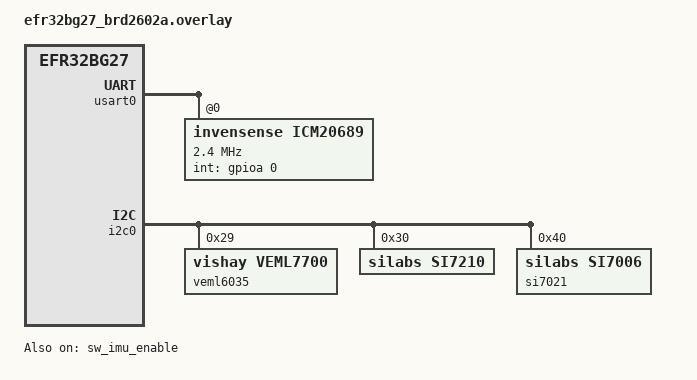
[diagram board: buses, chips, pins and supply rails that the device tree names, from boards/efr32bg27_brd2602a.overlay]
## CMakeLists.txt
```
# SPDX-License-Identifier: Apache-2.0

cmake_minimum_required(VERSION 3.20.0)
# set(CMAKE_OBJECT_PATH_MAX 300)
find_package(Zephyr REQUIRED HINTS $ENV{ZEPHYR_BASE})
project(xg27_cli)

target_sources(app PRIVATE src/main.c)
target_sources(app PRIVATE src/cli_command_table.c)
target_sources(app PRIVATE src/bthome_v2.c)
target_sources(app PRIVATE src/main.c)
```

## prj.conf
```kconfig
CONFIG_BT=y
CONFIG_BT_PERIPHERAL=y
CONFIG_SHELL=y
CONFIG_GPIO=y
CONFIG_SENSOR=y
CONFIG_ICM20689=y
CONFIG_SPI=y
CONFIG_I2C=y
CONFIG_CBPRINTF_FP_SUPPORT=y
CONFIG_MAIN_STACK_SIZE=4096
CONFIG_MBEDTLS=y
CONFIG_MBEDTLS_PSA_CRYPTO_C=y
CONFIG_MBEDTLS_CIPHER_AES_ENABLED=y
CONFIG_MBEDTLS_CIPHER_CCM_ENABLED=y
CONFIG_MBEDTLS_CIPHER_GCM_ENABLED=y
CONFIG_LOG=y
CONFIG_SERIAL=y
```

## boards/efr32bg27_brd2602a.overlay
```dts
&usart0 {
	cs-gpios = <&gpiob 2 GPIO_ACTIVE_LOW>;
	status = "okay";

	icm20689@0 {
		compatible = "invensense,icm20689";
		spi-max-frequency = <2400000>;
		reg = <0>;
		int-gpios = <&gpioa 0 GPIO_ACTIVE_HIGH>;
		accel-bw = <1046>;
		accel-fs = <2>;
		gyro-bw = <41>;
		gyro-fs = <250>;
		status = "okay";
	};

	mx25r80: mx25r8035f@0 {
		status = "disabled";
	};
};

&sw_imu_enable {
	regulator-boot-on;
	status = "okay";
};

&i2c0 {
	status = "okay";

	veml6035: veml6035@29 {
		compatible = "vishay,veml7700";
		reg = <0x29>;
		status = "okay";
	};

	si7210: si7210@30 {
		compatible = "silabs,si7210";
		reg = <0x30>;
		status = "okay";
	};

	si7021: si7021@40 {
		compatible = "silabs,si7006";
		reg = <0x40>;
		status = "okay";
	};
};
```

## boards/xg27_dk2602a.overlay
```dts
/*
 * Copyright (c) 2025 Silicon Laboratories Inc. www.silabs.com
 *
 * SPDX-License-Identifier: Apache-2.0
 */

#include <zephyr/dt-bindings/input/input-resistive-touchscreen-4wire.h>

/ {
	chosen {
		zephyr,console = &usart1;
		zephyr,shell-uart = &usart1;
	};
};

&usart0 {
	cs-gpios = <&gpiob 2 GPIO_ACTIVE_LOW>;
	status = "okay";

	icm20689@0 {
		compatible = "invensense,icm20689";
		spi-max-frequency = <2400000>;
		reg = <0>;
		int-gpios = <&gpioa 0 GPIO_ACTIVE_HIGH>;
		accel-bw = <1046>;
		accel-fs = <2>;
		gyro-bw = <41>;
		gyro-fs = <250>;
		status = "okay";
	};

	mx25r80: mx25r8035f@0 {
		status = "disabled";
	};
};

&sw_imu_enable {
	regulator-boot-on;
	status = "okay";
};

&i2c0 {
	status = "okay";

	veml6035: veml6035@29 {
		compatible = "vishay,veml7700";
		reg = <0x29>;
		status = "okay";
	};

	si7210: si7210@30 {
		compatible = "silabs,si7210";
		reg = <0x30>;
		status = "okay";
	};

	si7021: si7021@40 {
		compatible = "silabs,si7006";
		reg = <0x40>;
		status = "okay";
	};
};
```

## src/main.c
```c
/***************************************************************************//**
 * @file app.c
 * @brief zephyr application source file.
 *******************************************************************************
 * # License
 * <b>Copyright 2025 Silicon Laboratories Inc. www.silabs.com</b>
 *******************************************************************************
 *
 * SPDX-License-Identifier: Zlib
 *
 * The licensor of this software is Silicon Laboratories Inc.
 *
 * This software is provided \'as-is\', without any express or implied
 * warranty. In no event will the authors be held liable for any damages
 * arising from the use of this software.
 *
 * Permission is granted to anyone to use this software for any purpose,
 * including commercial applications, and to alter it and redistribute it
 * freely, subject to the following restrictions:
 *
 * 1. The origin of this software must not be misrepresented; you must not
 *    claim that you wrote the original software. If you use this software
 *    in a product, an acknowledgment in the product documentation would be
 *    appreciated but is not required.
 * 2. Altered source versions must be plainly marked as such, and must not be
 *    misrepresented as being the original software.
 * 3. This notice may not be removed or altered from any source distribution.
 *
 *******************************************************************************
 * # EXPERIMENTAL QUALITY
 * This code has not been formally tested and is provided as-is. It is not
 * suitable for production environments. In addition, this code will not be
 * maintained and there may be no bug maintenance planned for these resources.
 * Silicon Labs may update projects from time to time.
 ******************************************************************************/
#include <stdio.h>
#include <stdlib.h>
#include <string.h>
#include <zephyr/bluetooth/bluetooth.h>
#include <zephyr/bluetooth/hci.h>
#include <zephyr/bluetooth/conn.h>
#include <zephyr/bluetooth/uuid.h>
#include <zephyr/bluetooth/gatt.h>
#include <zephyr/logging/log.h>
#include "zephyr/shell/shell.h"
#include <zephyr/drivers/sensor.h>
#include <mbedtls/ccm.h>
#include "bthome_v2.h"

LOG_MODULE_REGISTER(app);

// ******************************************************************************
//                          Macros
// ******************************************************************************
#define CONVERT_SENSOR_VALUE(val1,          \
                             val2) (((val1) \
                                     + ((double)(val2) / (1000000))))

#define READ_TEMPERATURE                0x00
#define READ_HUMIDITY                   0x01
#define READ_ILLU                       0x02
#define READ_ROTATION                   0x03
#define READ_ACCELERATION               0x04
#define READ_DEFAULT                    0x05

#define BROADCAST_INTERVAL_MS_DEFAULT   1000
#define DEVICE_NAME_MAX_LENGTH          8

// ******************************************************************************
//                          Static Variables Declarations
// ******************************************************************************
static uint8_t device_name[8] = "ZPBTxG27";
static uint8_t key[] = "12345678123456781234567812345678";
static bool broadcast_enabled;
static uint16_t broadcast_interval = BROADCAST_INTERVAL_MS_DEFAULT;
static uint8_t device_name_len;

static volatile bool should_update;
static volatile uint8_t sensor_read = READ_TEMPERATURE;
static struct k_timer broadcast_timer;

static const struct device *const  si7021_sensor = DEVICE_DT_GET_ANY(
  silabs_si7006);
static const struct device *const  si7210_sensor = DEVICE_DT_GET_ANY(
  silabs_si7210);
static const struct device *const  veml6035_sensor = DEVICE_DT_GET_ANY(
  vishay_veml7700);
static const struct device *const  icm20689_sensor = DEVICE_DT_GET_ANY(
  invensense_icm20689);

// ******************************************************************************
//                          Static Function Prototypes
// ******************************************************************************
static void app_get_sensor_data(void);
static void app_init(void);

/***************************************************************************//**
 *  Shell set device name.
 ******************************************************************************/
void cli_set_device_name(const struct shell *sh,
                         size_t argc,
                         char **argv)
{
  ARG_UNUSED(argc);

  memset(device_name, 0, sizeof(device_name));
  device_name_len =
    (strlen(argv[1])
     > DEVICE_NAME_MAX_LENGTH) ? DEVICE_NAME_MAX_LENGTH : strlen(
      argv[1]);
  memcpy(device_name, argv[1], device_name_len);
  bthome_v2_set_device_name(device_name, device_name_len);

  shell_print(sh, "Set the device name key successfully.");
}

/***************************************************************************//**
 *  Shell enable / disable broadcast.
 ******************************************************************************/
void cli_set_boardcast(const struct shell *sh,
                       size_t argc,
                       char **argv)
{
  ARG_UNUSED(argc);

  broadcast_enabled = atoi(argv[1]);

  shell_print(sh, "Boardcast : %s",
              (broadcast_enabled) ? "ENABLED" : "DISABLED");

  if (broadcast_enabled) {
    k_timer_start(&broadcast_timer, K_MSEC(broadcast_interval),
                  K_MSEC(broadcast_interval));
    should_update = true;
  } else {
    k_timer_stop(&broadcast_timer);
  }
}

/***************************************************************************//**
 *  Shell set encryption key.
 ******************************************************************************/
void cli_set_encryption_key(const struct shell *sh,
                            size_t argc,
                            char **argv)
{
  ARG_UNUSED(argc);
  int ret;

  ret = bthome_v2_set_key((uint8_t *)argv[1]);
  if (ret) {
    LOG_ERR("Faild to set the encrytion key. [ERROR]: %d", ret);
  }
  shell_print(sh, "Set the encryption key successfully.");
}

/***************************************************************************//**
 *  Shell set broadcast invertal .
 ******************************************************************************/
void cli_set_boardcast_interval_ms(const struct shell *sh,
                                   size_t argc,
                                   char **argv)
{
  ARG_UNUSED(argc);

  broadcast_interval = atoi(argv[1]);
  k_timer_start(&broadcast_timer, K_MSEC(broadcast_interval),
                K_MSEC(broadcast_interval));

  shell_print(sh, "Boardcast interval [ms]: %d\n", broadcast_interval);
}

// ******************************************************************************
//                          Static Function Declarations
// ******************************************************************************

/***************************************************************************//**
 *  Application broadcast timer handle.
 ******************************************************************************/
static void app_broadcast_timer_handle(struct k_timer *timer_id)
{
  ARG_UNUSED(timer_id);

  switch (sensor_read) {
    case READ_TEMPERATURE:
      sensor_read = READ_HUMIDITY;
      break;
    case READ_HUMIDITY:
      sensor_read = READ_ILLU;
      break;
    case READ_ILLU:
      sensor_read = READ_ROTATION;
      break;
    case READ_ROTATION:
      sensor_read = READ_ACCELERATION;
      break;
    case READ_ACCELERATION:
      sensor_read = READ_TEMPERATURE;
      break;
    default:
      break;
  }
  should_update = true;
}

/***************************************************************************//**
 *  Application read sensor data.
 ******************************************************************************/
static void app_get_sensor_data(void)
{
  struct sensor_value sensor_val, icm_val[3];

  if (should_update && broadcast_enabled) {
    switch (sensor_read) {
      case READ_TEMPERATURE:
        sensor_sample_fetch(si7021_sensor);
        sensor_channel_get(si7021_sensor, SENSOR_CHAN_AMBIENT_TEMP,
                           &sensor_val);
        bthome_v2_add_measurement_float_value(CONVERT_SENSOR_VALUE(
                                                sensor_val.val1,
                                                sensor_val.val2),
                                              TEMPERTAURE_OBJ_ID,
                                              broadcast_enabled);
        LOG_INF("[Si7021]: Temperature: %.2lf °C",
                CONVERT_SENSOR_VALUE(sensor_val.val1, sensor_val.val2));
        break;
      case READ_HUMIDITY:
        sensor_channel_get(si7021_sensor, SENSOR_CHAN_HUMIDITY, &sensor_val);
        bthome_v2_add_measurement_float_value(CONVERT_SENSOR_VALUE(
                                                sensor_val.val1,
                                                sensor_val.val2),
                                              HUMIDITY_OBJ_ID,
                                              broadcast_enabled);
        LOG_INF("[Si7021]: Relative humidity: %.2lf %%",
                CONVERT_SENSOR_VALUE(sensor_val.val1, sensor_val.val2));
        break;
      case READ_ILLU:
        sensor_sample_fetch(veml6035_sensor);
        sensor_channel_get(veml6035_sensor, SENSOR_CHAN_LIGHT, &sensor_val);
        bthome_v2_add_measurement_float_value(CONVERT_SENSOR_VALUE(
                                                sensor_val.val1,
                                                sensor_val.val2),
                                              ILLUM_OBJ_ID,
                                              broadcast_enabled);
        LOG_INF("[VEML6035]: Ambient Light: %.2lf lux",
                CONVERT_SENSOR_VALUE(sensor_val.val1, sensor_val.val2));
        break;
      case READ_ROTATION:
        sensor_sample_fetch_chan(icm20689_sensor, SENSOR_CHAN_GYRO_XYZ);
        sensor_channel_get(icm20689_sensor, SENSOR_CHAN_GYRO_XYZ, icm_val);

        bthome_v2_add_measurement_float_value(CONVERT_SENSOR_VALUE(
                                                icm_val[0].val1,
                                                icm_val[0].val2),
                                              ROTATION_OBJ_ID,
                                              broadcast_enabled);
        bthome_v2_add_measurement_float_value(CONVERT_SENSOR_VALUE(
                                                icm_val[1].val1,
                                                icm_val[1].val2),
                                              ROTATION_OBJ_ID,
                                              broadcast_enabled);
        bthome_v2_add_measurement_float_value(CONVERT_SENSOR_VALUE(
                                                icm_val[2].val1,
                                                icm_val[2].val2),
                                              ROTATION_OBJ_ID,
                                              broadcast_enabled);
        LOG_INF("[ICM20689]: Orientation : X: %.2lf °   Y: %.2lf °   Z: %.2lf°",
                CONVERT_SENSOR_VALUE(icm_val[0].val1, icm_val[0].val2),
                CONVERT_SENSOR_VALUE(icm_val[1].val1, icm_val[1].val2),
                CONVERT_SENSOR_VALUE(icm_val[2].val1, icm_val[2].val2));
        break;
      case READ_ACCELERATION: {
        sensor_sample_fetch_chan(icm20689_sensor, SENSOR_CHAN_ACCEL_XYZ);
        sensor_channel_get(icm20689_sensor, SENSOR_CHAN_ACCEL_XYZ, icm_val);

        double accel_x = CONVERT_SENSOR_VALUE(icm_val[0].val1, icm_val[0].val2);
        bthome_v2_add_measurement_float_value((accel_x > 0) ? accel_x : 0,
                                              ACCELERATION_OBJ_ID,
                                              broadcast_enabled);
        double accel_y = CONVERT_SENSOR_VALUE(icm_val[1].val1, icm_val[1].val2);
        bthome_v2_add_measurement_float_value((accel_y > 0) ? accel_y : 0,
                                              ACCELERATION_OBJ_ID,
                                              broadcast_enabled);
        double accel_z = CONVERT_SENSOR_VALUE(icm_val[2].val1, icm_val[2].val2);
        bthome_v2_add_measurement_float_value((accel_z > 0) ? accel_z : 0,
                                              ACCELERATION_OBJ_ID,
                                              broadcast_enabled);
        LOG_INF(
          "[ICM20689]: Acceleration : X: %.2lf m/s2   Y: %.2lf m/s2    Z: %.2lf m/s2",
          (accel_x > 0) ? accel_x : 0,
          (accel_y > 0) ? accel_y : 0,
          (accel_z > 0) ? accel_z : 0);
      }
      break;
      default:
        break;
    }
    should_update = false;
  }
}

/***************************************************************************//**
 *  Application initialization.
 ******************************************************************************/
static void app_init(void)
{
  if ((si7021_sensor == NULL) || (si7210_sensor == NULL)
      || (veml6035_sensor == NULL) || (icm20689_sensor == NULL)) {
    LOG_ERR("Device not found!");
    return;
  }

  if (!device_is_ready(si7021_sensor) || !device_is_ready(si7210_sensor)
      || !device_is_ready(veml6035_sensor)
      || !device_is_ready(icm20689_sensor)) {
    LOG_ERR("Devices are not ready!");
    return;
  }

  LOG_INF("Application initialization done.\n");
}

/***************************************************************************//**
 *  Main function.
 ******************************************************************************/
int main(void)
{
  int ret;

  app_init();
  ret = bt_enable(NULL);
  if (ret) {
    LOG_INF("Bluetooth init failed. ERR: %d", ret);
    return 0;
  }

  bthome_v2_set_key(key);
  bthome_v2_set_device_name(device_name, sizeof(device_name));

  k_timer_init(&broadcast_timer, app_broadcast_timer_handle, NULL);

  while (1) {
    app_get_sensor_data();
    k_sleep(K_MSEC(1));
  }
  return 0;
}
```

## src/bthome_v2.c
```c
/***************************************************************************//**
 * @file bthome_v2.c
 * @brief zephyr bthome v2 source file.
 *******************************************************************************
 * # License
 * <b>Copyright 2025 Silicon Laboratories Inc. www.silabs.com</b>
 *******************************************************************************
 *
 * SPDX-License-Identifier: Zlib
 *
 * The licensor of this software is Silicon Laboratories Inc.
 *
 * This software is provided \'as-is\', without any express or implied
 * warranty. In no event will the authors be held liable for any damages
 * arising from the use of this software.
 *
 * Permission is granted to anyone to use this software for any purpose,
 * including commercial applications, and to alter it and redistribute it
 * freely, subject to the following restrictions:
 *
 * 1. The origin of this software must not be misrepresented; you must not
 *    claim that you wrote the original software. If you use this software
 *    in a product, an acknowledgment in the product documentation would be
 *    appreciated but is not required.
 * 2. Altered source versions must be plainly marked as such, and must not be
 *    misrepresented as being the original software.
 * 3. This notice may not be removed or altered from any source distribution.
 *
 *******************************************************************************
 * # EXPERIMENTAL QUALITY
 * This code has not been formally tested and is provided as-is. It is not
 * suitable for production environments. In addition, this code will not be
 * maintained and there may be no bug maintenance planned for these resources.
 * Silicon Labs may update projects from time to time.
 ******************************************************************************/

#include <stdio.h>
#include <stdlib.h>
#include <string.h>
#include <zephyr/bluetooth/bluetooth.h>
#include <zephyr/bluetooth/hci.h>
#include <zephyr/bluetooth/conn.h>
#include <zephyr/bluetooth/uuid.h>
#include <zephyr/bluetooth/gatt.h>
#include <zephyr/logging/log.h>
#include <mbedtls/ccm.h>
#include <zephyr/logging/log.h>
#include "bthome_v2.h"

LOG_MODULE_REGISTER(bthome_v2);

/*************************** MACROS *********************************/
#define ADV_PARAM                       BT_LE_ADV_PARAM( \
    BT_LE_ADV_OPT_USE_IDENTITY,                          \
    BT_GAP_ADV_FAST_INT_MIN_2,                           \
    BT_GAP_ADV_FAST_INT_MAX_2,                           \
    NULL)

#define MIC_LEN                         4
#define NONCE_LEN                       13
#define SERVICE_DATA_MAX_LENGHT         20
#define DEVICE_NAME_MAX_LENGTH          8

#define SENSOR_DATA_MAX_LENGHT          9
#define ENCRYPTION_KEY_LENGHT           16

/*********************************************************************/

/*************************** STATIC VARIABLES ************************/
static struct bt_data ad[] = {
  BT_DATA_BYTES(BT_DATA_FLAGS, BT_LE_AD_GENERAL | BT_LE_AD_NO_BREDR),
  BT_DATA(0, NULL, 0),
  BT_DATA(0, NULL, 0)
};

static volatile bool start_adv;
static uint8_t service_data[SERVICE_DATA_MAX_LENGHT] = { 0 };
static uint8_t sensor_data[SENSOR_DATA_MAX_LENGHT] = { 0 };

static uint8_t data_idx;
static uint8_t service_idx;

static mbedtls_ccm_context encrypt_ctx;
static uint32_t encrypt_count;

static uint8_t device_name[8];
static uint8_t device_name_length = 8;

/************************************************************************/

/************************** STATIC FUNCTION *****************************/
static uint16_t bthome_v2_get_factor(uint8_t obj_id);
static uint8_t bthome_v2_get_num_bytes(uint8_t obj_id);

/************************************************************************/

uint8_t bthome_v2_set_key(uint8_t const * const key)
{
  uint8_t bind_key[16];
  char octet[2];

  // Parse key to 128 bit length format
  for (uint8_t i = 0; i < ENCRYPTION_KEY_LENGHT; i++) {
    memcpy(octet, (uint8_t *)&key[2 * i], 2);
    bind_key[i] = (uint8_t)strtol(octet, NULL, ENCRYPTION_KEY_LENGHT);
  }

  encrypt_count = rand() % 0x427;

  mbedtls_ccm_init(&encrypt_ctx);
  return mbedtls_ccm_setkey(&encrypt_ctx,
                            MBEDTLS_CIPHER_ID_AES,
                            bind_key,
                            ENCRYPTION_KEY_LENGHT * 8);
}

void bthome_v2_build_packet(uint8_t obj_id)
{
  size_t count;
  bt_addr_le_t addrs;
  uint8_t nonce[NONCE_LEN];
  uint8_t *p_count = (uint8_t *)(&encrypt_count);
  uint8_t ciphertext[SERVICE_DATA_MAX_LENGHT];
  uint8_t encryption_mic[MIC_LEN];

  // DO NOT CHANGE -- UUID
  service_data[service_idx++] = 0xD2;
  // DO NOT CHANGE -- UUID
  service_data[service_idx++] = 0xFC;

  service_data[service_idx++] = 0x41;

  bt_id_get(&addrs, &count);

  nonce[0] = addrs.a.val[5];
  nonce[1] = addrs.a.val[4];
  nonce[2] = addrs.a.val[3];
  nonce[3] = addrs.a.val[2];
  nonce[4] = addrs.a.val[1];
  nonce[5] = addrs.a.val[0];

  nonce[6] = 0xD2;
  nonce[7] = 0xFC;

  nonce[8] = service_data[service_idx - 1];

  nonce[9] = p_count[0];
  nonce[10] = p_count[1];
  nonce[11] = p_count[2];
  nonce[12] = p_count[3];

  if ((obj_id != ROTATION_OBJ_ID) && (obj_id != ACCELERATION_OBJ_ID)) {
    while (data_idx < 4) {
      sensor_data[data_idx++] = 0xFF;
    }
  }
  mbedtls_ccm_encrypt_and_tag(&encrypt_ctx, data_idx,
                              nonce, NONCE_LEN, 0, 0, sensor_data,
                              ciphertext, encryption_mic,
                              MIC_LEN);

  for (uint8_t i = 0; i < data_idx; i++) {
    service_data[service_idx++] = ciphertext[i];
  }

  // Add Counter
  service_data[service_idx++] = nonce[9];
  service_data[service_idx++] = nonce[10];
  service_data[service_idx++] = nonce[11];
  service_data[service_idx++] = nonce[12];
  encrypt_count++;

  // Add MIC
  service_data[service_idx++] = encryption_mic[0];
  service_data[service_idx++] = encryption_mic[1];
  service_data[service_idx++] = encryption_mic[2];
  service_data[service_idx++] = encryption_mic[3];
}

void bthome_v2_add_measurement_float_value(float value,
                                           uint8_t obj_id,
                                           bool broadcast_enabled)
{
  uint16_t factor = bthome_v2_get_factor(obj_id);
  uint8_t size = bthome_v2_get_num_bytes(obj_id);
  int val = value * factor;
  int ret;

  if (broadcast_enabled) {
    if ((data_idx + size + 1) <= SENSOR_DATA_MAX_LENGHT) {
      sensor_data[data_idx] = obj_id;
      data_idx++;

      for (int i = 0; i < size; i++) {
        sensor_data[data_idx] = (uint8_t)((val >> (8 * i)) & 0xFF);
        data_idx++;
      }
      if ((obj_id != ROTATION_OBJ_ID) && (obj_id != ACCELERATION_OBJ_ID)) {
        bthome_v2_build_packet(obj_id);
        ad[1].type = BT_DATA_NAME_COMPLETE;
        ad[1].data = device_name;
        ad[1].data_len = device_name_length;

        ad[2].type = BT_DATA_SVC_DATA16;
        ad[2].data = service_data;
        ad[2].data_len = service_idx;
        bthome_v2_update_data(obj_id);
      }
      if (data_idx == SENSOR_DATA_MAX_LENGHT) {
        bthome_v2_build_packet(obj_id);
        ad[1].type = BT_DATA_NAME_COMPLETE;
        ad[1].data = device_name;
        ad[1].data_len = 0;

        ad[2].type = BT_DATA_SVC_DATA16;
        ad[2].data = service_data;
        ad[2].data_len = service_idx;
        bthome_v2_update_data(obj_id);
      }
    }
  } else {
    if (start_adv) {
      ret = bt_le_adv_stop();
      if (ret) {
        LOG_ERR("Advertising failed to stop  ERROR: [%d]", ret);
        return;
      }
      start_adv = false;
    }
  }
}

void bthome_v2_update_data(uint8_t obj_id)
{
  int ret;

  if (!start_adv) {
    ret = bt_le_adv_start(ADV_PARAM, ad, ARRAY_SIZE(ad), NULL, 0);
    if (ret) {
      LOG_ERR("Advertising failed to start  ERROR: [%d]", ret);
      return;
    }
    start_adv = true;
    data_idx = 0;
    service_idx = 0;
    memset(sensor_data, 0, SENSOR_DATA_MAX_LENGHT);
    memset(service_data, 0, SERVICE_DATA_MAX_LENGHT);
  } else {
    ret = bt_le_adv_update_data(ad, ARRAY_SIZE(ad), NULL, 0);
    if (ret) {
      LOG_ERR("Failed to update advertising data. ERROR: [%d]", ret);
    }
    data_idx = 0;
    service_idx = 0;
    memset(sensor_data, 0, SENSOR_DATA_MAX_LENGHT);
    memset(service_data, 0, SERVICE_DATA_MAX_LENGHT);
  }
}

void bthome_v2_set_device_name(const char *name, uint8_t len)
{
  memset(device_name, 0, device_name_length);
  if (len > DEVICE_NAME_MAX_LENGTH) {
    device_name_length = DEVICE_NAME_MAX_LENGTH;
  }
  device_name_length = len;
  memcpy(device_name, name, device_name_length);
}

/***************************************************************************//**
 *  Application BTHome get sensor data factor.
 ******************************************************************************/
static uint16_t bthome_v2_get_factor(uint8_t obj_id)
{
  switch (obj_id) {
    case TEMPERTAURE_OBJ_ID:
    case HUMIDITY_OBJ_ID:
    case ILLUM_OBJ_ID:
    case PRESSURE_OBJ_ID:
      return 100;
    case ROTATION_OBJ_ID:
      return 10;
    case ACCELERATION_OBJ_ID:
      return 1000;
    default:
      break;
  }

  return 0;
}

/***************************************************************************//**
 *  Application BTHome get number of bytes.
 ******************************************************************************/
static uint8_t bthome_v2_get_num_bytes(uint8_t obj_id)
{
  switch (obj_id)
  {
    case TEMPERTAURE_OBJ_ID:
    case HUMIDITY_OBJ_ID:
    case ROTATION_OBJ_ID:
    case ACCELERATION_OBJ_ID:
      return 2;
    case ILLUM_OBJ_ID:
    case PRESSURE_OBJ_ID:
      return 3;
    default:
      break;
  }

  return 0;
}
```

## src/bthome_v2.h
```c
/***************************************************************************//**
 * @file bthome_v2.h
 * @brief zephyr bthome v2 header file.
 *******************************************************************************
 * # License
 * <b>Copyright 2024 Silicon Laboratories Inc. www.silabs.com</b>
 *******************************************************************************
 *
 * SPDX-License-Identifier: Zlib
 *
 * The licensor of this software is Silicon Laboratories Inc.
 *
 * This software is provided \'as-is\', without any express or implied
 * warranty. In no event will the authors be held liable for any damages
 * arising from the use of this software.
 *
 * Permission is granted to anyone to use this software for any purpose,
 * including commercial applications, and to alter it and redistribute it
 * freely, subject to the following restrictions:
 *
 * 1. The origin of this software must not be misrepresented; you must not
 *    claim that you wrote the original software. If you use this software
 *    in a product, an acknowledgment in the product documentation would be
 *    appreciated but is not required.
 * 2. Altered source versions must be plainly marked as such, and must not be
 *    misrepresented as being the original software.
 * 3. This notice may not be removed or altered from any source distribution.
 *
 *******************************************************************************
 * # EXPERIMENTAL QUALITY
 * This code has not been formally tested and is provided as-is. It is not
 * suitable for production environments. In addition, this code will not be
 * maintained and there may be no bug maintenance planned for these resources.
 * Silicon Labs may update projects from time to time.
 ******************************************************************************/

#ifndef _BTHOME_V2_H
#define _BTHOME_V2_H

#define TEMPERTAURE_OBJ_ID              0x02
#define HUMIDITY_OBJ_ID                 0x03
#define ILLUM_OBJ_ID                    0x05
#define ROTATION_OBJ_ID                 0x3F
#define ACCELERATION_OBJ_ID             0x51
#define PRESSURE_OBJ_ID                 0x04

/**
 * @brief Set device name function
 *
 * @param device_name Device name
 * @param length Length of device name
 */
void bthome_v2_set_device_name(const char *device_name, uint8_t length);

/**
 * @brief Set the encryption key in BTHome v2 format
 *
 * @param key Encryption key
 * @return uint8_t Status of the function
 */
uint8_t bthome_v2_set_key(uint8_t const * const key);

/**
 * @brief Add the measurement float value to the advertising package.
 *
 * @param value Sensor value
 * @param obj_id Object ID
 * @param broadcast_enabled Enabled/disbale broadcast
 */
void bthome_v2_add_measurement_float_value(float value,
                                           uint8_t obj_id,
                                           bool broadcast_enabled);

/**
 * @brief Build advertising package according to BTHome v2 format
 *
 * @param obj_id  Object ID
 */
void bthome_v2_build_packet(uint8_t obj_id);

/**
 * @brief Update the advertising package.
 *
 * @param obj_id Object ID
 */
void bthome_v2_update_data(uint8_t obj_id);

#endif /* _BTHOME_V2_H*/
```

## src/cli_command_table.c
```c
/***************************************************************************//**
 * @file cli_command_table.c
 * @brief zephyr CLI command source file.
 *******************************************************************************
 * # License
 * <b>Copyright 2025 Silicon Laboratories Inc. www.silabs.com</b>
 *******************************************************************************
 *
 * SPDX-License-Identifier: Zlib
 *
 * The licensor of this software is Silicon Laboratories Inc.
 *
 * This software is provided \'as-is\', without any express or implied
 * warranty. In no event will the authors be held liable for any damages
 * arising from the use of this software.
 *
 * Permission is granted to anyone to use this software for any purpose,
 * including commercial applications, and to alter it and redistribute it
 * freely, subject to the following restrictions:
 *
 * 1. The origin of this software must not be misrepresented; you must not
 *    claim that you wrote the original software. If you use this software
 *    in a product, an acknowledgment in the product documentation would be
 *    appreciated but is not required.
 * 2. Altered source versions must be plainly marked as such, and must not be
 *    misrepresented as being the original software.
 * 3. This notice may not be removed or altered from any source distribution.
 *
 *******************************************************************************
 * # EXPERIMENTAL QUALITY
 * This code has not been formally tested and is provided as-is. It is not
 * suitable for production environments. In addition, this code will not be
 * maintained and there may be no bug maintenance planned for these resources.
 * Silicon Labs may update projects from time to time.
 ******************************************************************************/
#include <stdlib.h>
#include "zephyr/shell/shell.h"

void cli_set_device_name(const struct shell *sh,
                         size_t argc,
                         char **argv);
void cli_set_encryption_key(const struct shell *sh,
                            size_t argc,
                            char **argv);
void cli_set_boardcast(const struct shell *sh,
                       size_t argc,
                       char **argv);
void cli_set_boardcast_interval_ms(const struct shell *sh,
                                   size_t argc,
                                   char **argv);

SHELL_STATIC_SUBCMD_SET_CREATE(sub_xg27_bthome,
                               SHELL_CMD_ARG(set_device_name, NULL,
                                             "Set the device name\n"
                                             "Note: The device should has less than 9 characters, otherwise it will be truncated.",
                                             cli_set_device_name, 2, 0),
                               SHELL_CMD_ARG(set_encryption_key, NULL,
                                             "Set encryption key\n"
                                             "Note: The encrytion key should has 32 characters.",
                                             cli_set_encryption_key, 2, 0),
                               SHELL_CMD_ARG(set_broadcast, NULL,
                                             "Enable/Disable broadcast\n"
                                             "Enable: 1, Disable: 0",
                                             cli_set_boardcast, 2, 0),
                               SHELL_CMD_ARG(set_broadcast_interval, NULL,
                                             "Set broadcast interval [ms]",
                                             cli_set_boardcast_interval_ms, 2,
                                             0),
                               SHELL_SUBCMD_SET_END);

SHELL_CMD_REGISTER(xg27_bthome,
                   &sub_xg27_bthome,
                   "BTHome v2 - xG27 Dev Kit sensor",
                   NULL);
```
